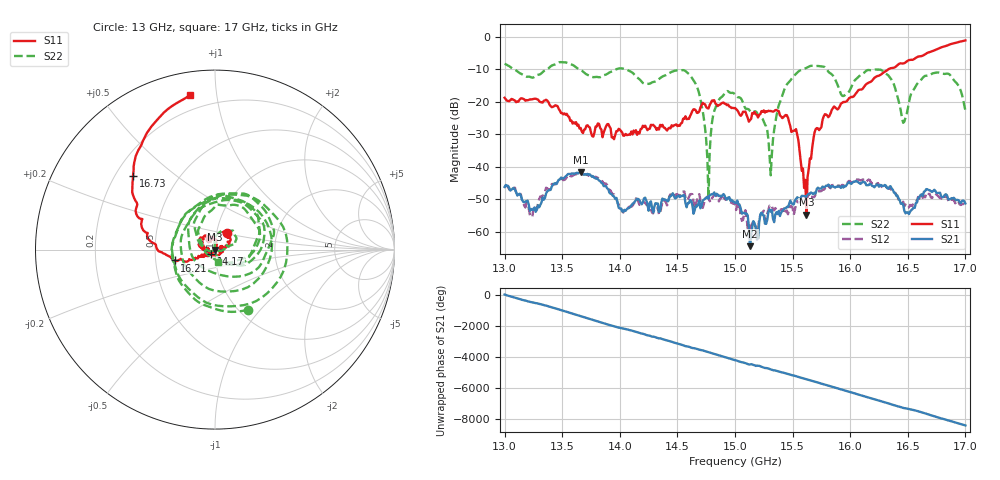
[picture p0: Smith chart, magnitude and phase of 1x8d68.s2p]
!Keysight Technologies,P9374A,MY57211807,A.19.30.04
!Date: Friday, May 08, 2026 15:24:02
!Correction: S11(C  2-Port  )
!S21(C  2-Port  )
!S12(C  2-Port  )
!S22(C  2-Port  )
!S2P File: Measurements: S11, S21, S12, S22:
# Hz S  dB  R 50
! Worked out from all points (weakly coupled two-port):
!   401 points, 13 GHz to 17 GHz, reference 50 ohm
!   highest |S21| = -41.76 dB at 13.66 GHz (marker M1); lowest = -64.4 dB at 15.13 GHz (marker M2)
!   lowest |S11| = -54.7 dB at 15.62 GHz (marker M3), VSWR 1.00, Z = 49.8 - j0.0821 ohm
!   |S11| at or under -10 dB: start of sweep to 16.33 GHz
!   |S22| runs from -50.0 to -7.8 dB; largest |S21 - S12| = 0.0013
!   S11 on the Smith chart (normalised r, x): 13 GHz: 1.12, +0.21; 14.17 GHz: 0.96, -0.05; 16.21 GHz: 0.63, -0.08; 16.73 GHz: 0.27, +0.36; 17 GHz: 0.12, +0.85
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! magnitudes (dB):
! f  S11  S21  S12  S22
! 13 GHz  -18.8  -46.2  -46.3  -8.3
! 13.23 GHz  -19.3  -53.0  -55.4  -12.5
! 13.66 GHz  -28.1  -41.8  -42.2  -10.3
! 13.67 GHz  -29.2  -41.9  -42.2  -10.5
! 14.17 GHz  -29.8  -50.3  -51.7  -13.1
! 14.34 GHz  -28.6  -54.0  -54.7  -13.1
! 14.64 GHz  -22.4  -54.5  -50.9  -13.5
! 14.77 GHz  -22.1  -49.8  -49.7  -50.0
! 14.84 GHz  -20.9  -48.3  -49.0  -21.0
! 15 GHz  -22.0  -51.1  -51.3  -17.8
! 15.13 GHz  -25.7  -64.4  -61.4  -22.8
! 15.31 GHz  -22.9  -53.8  -52.4  -42.7
! 15.39 GHz  -24.2  -55.2  -53.4  -20.2
! 15.53 GHz  -28.4  -49.9  -51.6  -11.4
! 15.62 GHz  -54.7  -49.4  -50.0  -9.6
! 15.67 GHz  -34.3  -48.2  -49.2  -9.0
! 15.94 GHz  -20.1  -46.4  -45.7  -18.3
! 16.21 GHz  -12.7  -46.3  -45.3  -10.1
! 16.34 GHz  -9.9  -46.2  -46.7  -12.3
! 16.47 GHz  -8.2  -53.6  -52.2  -26.1
! 16.73 GHz  -4.2  -47.1  -48.6  -11.2
! 17 GHz  -1.2  -51.3  -51.8  -22.8
